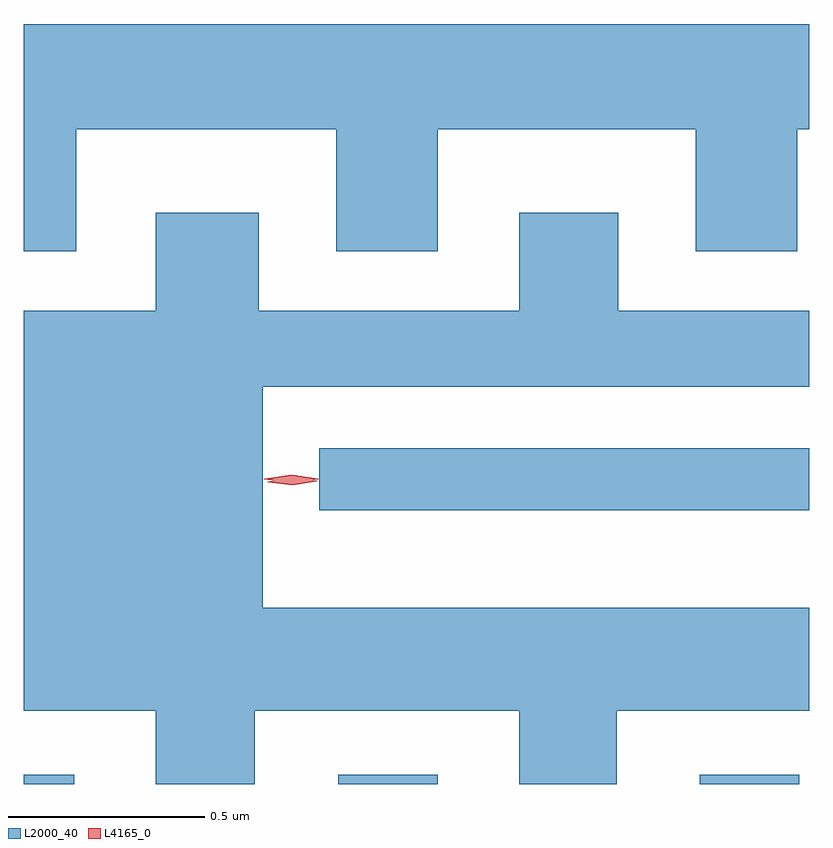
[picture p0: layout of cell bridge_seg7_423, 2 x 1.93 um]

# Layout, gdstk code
import gdstk
lib = gdstk.Library(unit=1e-6, precision=1e-09)
def R(c, l, rs):  # rectangles x0, y0, x1, y1
    for r in rs: c.add(gdstk.rectangle(r[:2], r[2:], *l))
def P(c, l, *ps):  # polygons
    for p in ps: c.add(gdstk.Polygon(p, *l))
L2000_40 = (2000, 40)
L4165_0 = (4165, 0)

bridge_seg7_423 = lib.new_cell('bridge_seg7_423')
R(bridge_seg7_423, L2000_40, [(1064.55,1710.43,1064.679,1710.454), (1065.351,1710.43,1065.604,1710.454), (1066.271,1710.43,1066.524,1710.454), (1065.303,1711.126,1066.55,1711.284)])
P(bridge_seg7_423, L2000_40, [(1064.684,1712.096),(1065.346,1712.096),(1065.346,1711.786),(1065.604,1711.786),(1065.604,1712.096),(1066.261,1712.096),(1066.261,1711.786),(1066.519,1711.786),(1066.519,1712.096),(1066.55,1712.096),(1066.55,1712.364),(1064.55,1712.364),(1064.55,1711.786),(1064.684,1711.786)],
  [(1065.139,1710.616),(1065.811,1710.616),(1065.811,1710.43),(1066.059,1710.43),(1066.059,1710.616),(1066.55,1710.616),(1066.55,1710.879),(1065.159,1710.879),(1065.159,1711.441),(1066.55,1711.441),(1066.55,1711.634),(1066.064,1711.634),(1066.064,1711.884),(1065.811,1711.884),(1065.811,1711.634),(1065.149,1711.634),(1065.149,1711.884),(1064.886,1711.884),(1064.886,1711.634),(1064.55,1711.634),(1064.55,1710.616),(1064.886,1710.616),(1064.886,1710.43),(1065.139,1710.43)])
P(bridge_seg7_423, L4165_0, [(1065.232,1711.197),(1065.163,1711.206),(1065.162,1711.207),(1065.163,1711.207),(1065.232,1711.217),(1065.3,1711.207),(1065.3,1711.207),(1065.3,1711.206)],
  [(1065.235,1711.19),(1065.173,1711.198),(1065.172,1711.199),(1065.173,1711.199),(1065.234,1711.21),(1065.296,1711.202),(1065.297,1711.201),(1065.296,1711.201)])

lib.write_gds('bridge_seg7_423.gds')
